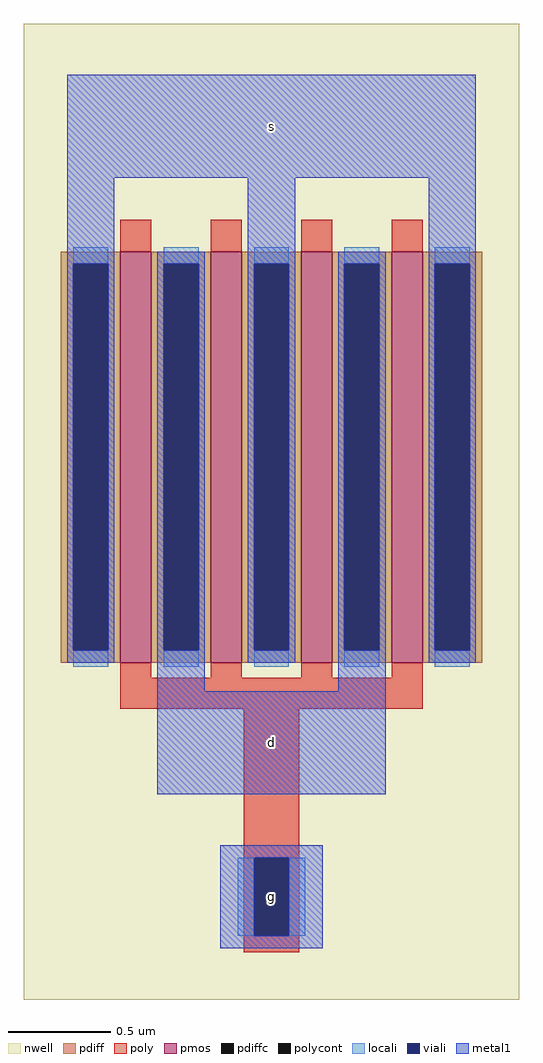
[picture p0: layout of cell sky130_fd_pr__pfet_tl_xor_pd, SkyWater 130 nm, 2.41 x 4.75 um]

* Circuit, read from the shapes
.subckt sky130_fd_pr__pfet_tl_xor_pd d g s
XM1 d g s n1 sky130_fd_pr__pfet_01v8 w=2 l=0.15 m=4
.ends

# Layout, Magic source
magic
tech sky130A
magscale 1 2
<< nwell >>
rect -109 -1482 373 -532
<< pmos >>
rect -15 -1154 15 -754
rect 73 -1154 103 -754
rect 161 -1154 191 -754
rect 249 -1154 279 -754
<< pdiff >>
rect -73 -766 -15 -754
rect -73 -1142 -61 -766
rect -27 -1142 -15 -766
rect -73 -1154 -15 -1142
rect 15 -766 73 -754
rect 15 -1142 27 -766
rect 61 -1142 73 -766
rect 15 -1154 73 -1142
rect 103 -766 161 -754
rect 103 -1142 115 -766
rect 149 -1142 161 -766
rect 103 -1154 161 -1142
rect 191 -766 249 -754
rect 191 -1142 203 -766
rect 237 -1142 249 -766
rect 191 -1154 249 -1142
rect 279 -766 337 -754
rect 279 -1142 291 -766
rect 325 -1142 337 -766
rect 279 -1154 337 -1142
<< pdiffc >>
rect -61 -1142 -27 -766
rect 27 -1142 61 -766
rect 115 -1142 149 -766
rect 203 -1142 237 -766
rect 291 -1142 325 -766
<< poly >>
rect -15 -754 15 -723
rect 73 -754 103 -723
rect 161 -754 191 -723
rect 249 -754 279 -723
rect -15 -1169 15 -1154
rect 73 -1169 103 -1154
rect 161 -1169 191 -1154
rect 249 -1169 279 -1154
rect -15 -1199 279 -1169
rect 105 -1344 159 -1199
rect 105 -1420 115 -1344
rect 149 -1420 159 -1344
rect 105 -1436 159 -1420
<< polycont >>
rect 115 -1420 149 -1344
<< locali >>
rect -61 -766 -27 -750
rect -61 -1158 -27 -1142
rect 27 -766 61 -750
rect 27 -1158 61 -1142
rect 115 -766 149 -750
rect 115 -1158 149 -1142
rect 203 -766 237 -750
rect 203 -1158 237 -1142
rect 291 -766 325 -750
rect 291 -1158 325 -1142
rect 99 -1420 115 -1344
rect 149 -1420 165 -1344
<< viali >>
rect -61 -1142 -27 -766
rect 27 -1142 61 -766
rect 115 -1142 149 -766
rect 203 -1142 237 -766
rect 291 -1142 325 -766
rect 115 -1420 149 -1344
<< metal1 >>
rect -67 -682 331 -582
rect -67 -766 -21 -682
rect -67 -1142 -61 -766
rect -27 -1142 -21 -766
rect -67 -1154 -21 -1142
rect 21 -766 67 -754
rect 21 -1142 27 -766
rect 61 -1142 67 -766
rect 21 -1182 67 -1142
rect 109 -766 155 -682
rect 109 -1142 115 -766
rect 149 -1142 155 -766
rect 109 -1154 155 -1142
rect 197 -766 243 -754
rect 197 -1142 203 -766
rect 237 -1142 243 -766
rect 197 -1182 243 -1142
rect 285 -766 331 -682
rect 285 -1142 291 -766
rect 325 -1142 331 -766
rect 285 -1154 331 -1142
rect 21 -1282 243 -1182
rect 82 -1344 182 -1332
rect 82 -1420 115 -1344
rect 149 -1420 182 -1344
rect 82 -1432 182 -1420
<< labels >>
flabel metal1 82 -1282 182 -1182 0 FreeSans 200 0 0 0 d
port 1 nsew
flabel metal1 82 -1432 182 -1332 0 FreeSans 200 0 0 0 g
port 2 nsew
flabel metal1 82 -682 182 -582 0 FreeSans 200 0 0 0 s
port 3 nsew
<< end >>
